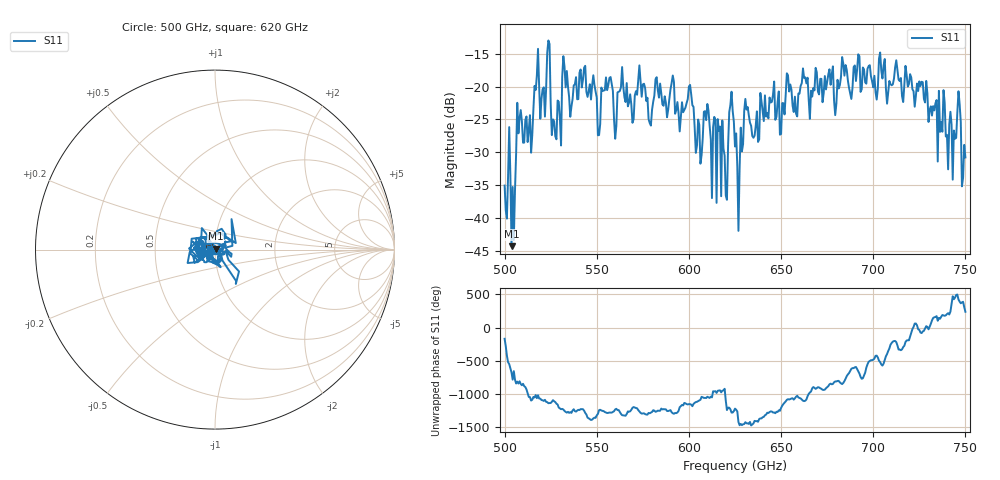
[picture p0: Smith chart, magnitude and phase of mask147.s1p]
!Created with skrf (http://scikit-rf.org).
# GHz S MA R 50.0
!freq magS11 angS11
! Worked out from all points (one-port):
!   401 points, 500 GHz to 750 GHz, reference 50 ohm
!   lowest |S11| = -44.2 dB at 503.8 GHz (marker M1), VSWR 1.01, Z = 50.4 + j0.432 ohm
!   |S11| at or under -10 dB: start of sweep to end of sweep
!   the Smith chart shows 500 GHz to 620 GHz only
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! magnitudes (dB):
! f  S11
! 500 GHz  -35.0
! 503.8 GHz  -44.2
! 505 GHz  -43.3
! 508.1 GHz  -24.8
! 513.8 GHz  -24.3
! 517.5 GHz  -18.3
! 520.6 GHz  -20.4
! 523.8 GHz  -13.0
! 526.9 GHz  -25.3
! 531.2 GHz  -18.5
! 542.5 GHz  -19.0
! 550.6 GHz  -27.4
! 562.5 GHz  -20.7
! 593.8 GHz  -22.4
! 600.6 GHz  -19.8
! 605.6 GHz  -25.8
! 609.4 GHz  -25.1
! 620 GHz  -36.6
! 623.1 GHz  -20.8
! 625 GHz  -29.1
! 627.5 GHz  -32.4
! 631.2 GHz  -23.5
! 656.2 GHz  -22.9
! 687.5 GHz  -21.1
! 718.8 GHz  -20.0
! 741.9 GHz  -23.8
! 746.2 GHz  -20.7
! 750 GHz  -30.8
